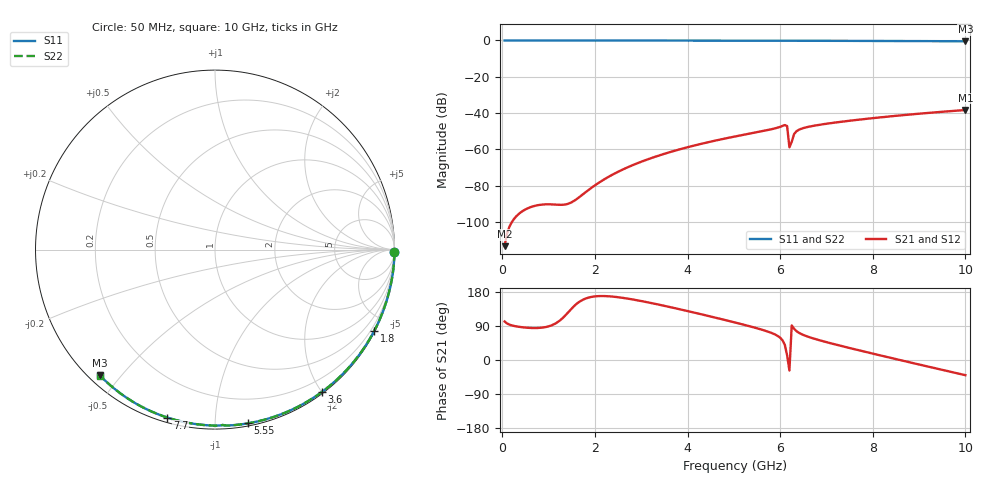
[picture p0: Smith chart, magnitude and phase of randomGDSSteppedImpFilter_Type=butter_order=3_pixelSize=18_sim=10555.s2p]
! freq	dB(S11)	phase(S11)	dB(S12)	phase(S12)
!  dB(S21)	phase(S21)	dB(S22)	phase(S22)
!S-par simulation data
#  GHz  S  DB  R 50
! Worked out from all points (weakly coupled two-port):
!   200 points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, 50 MHz to 10 GHz, reference 50 ohm
!   highest |S21| = -38.33 dB at 10 GHz (marker M1); lowest = -113.4 dB at 50 MHz (marker M2)
!   lowest |S11| = -0.4 dB at 10 GHz (marker M3), VSWR 38.90, Z = 1.53 - j22 ohm
!   |S11| at or under -10 dB: nowhere
!   |S22| runs from -0.4 to 0.0 dB; largest |S21 - S12| = 0
!   S11 on the Smith chart (normalised r, x): 50 MHz: open; 1.8 GHz: 0.04, -4.14; 3.6 GHz: 0.02, -2.00; 5.55 GHz: 0.02, -1.21; 7.7 GHz: 0.02, -0.76; 10 GHz: 0.03, -0.44
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0.05  -0.00 -0.8  -113.36 101.7  -113.36 101.7  -0.00 -0.8
0.9  -0.01 -13.7  -90.37 86.1  -90.37 86.1  -0.01 -13.7
1.75  -0.03 -26.4  -84.59 159.6  -84.59 159.6  -0.03 -26.4
1.8  -0.03 -27.2  -83.59 162.2  -83.59 162.2  -0.03 -27.2
2  -0.04 -30.1  -79.85 167.9  -79.85 167.9  -0.04 -30.1
2.35  -0.05 -35.2  -74.35 167.7  -74.35 167.7  -0.05 -35.2
2.65  -0.05 -39.6  -70.54 163.1  -70.54 163.1  -0.05 -39.6
3.4  -0.07 -50.3  -63.26 145.6  -63.26 145.6  -0.07 -50.3
3.6  -0.07 -53.1  -61.68 140.3  -61.68 140.3  -0.07 -53.1
5.05  -0.11 -72.8  -52.78 98.3  -52.78 98.3  -0.11 -72.8
5.55  -0.13 -79.3  -50.30 82.0  -50.30 82.0  -0.13 -79.3
6.1  -0.16 -86.4  -46.61 40.3  -46.61 40.3  -0.16 -86.4
6.15  -0.18 -87.1  -47.13 12.5  -47.13 12.5  -0.18 -87.1
6.2  -0.19 -87.5  -58.91 -27.8  -58.91 -27.8  -0.19 -87.5
6.25  -0.18 -88.1  -55.84 91.2  -55.84 91.2  -0.18 -88.1
6.3  -0.17 -88.7  -51.62 82.6  -51.62 82.6  -0.17 -88.7
6.35  -0.17 -89.4  -50.10 76.5  -50.10 76.5  -0.17 -89.3
6.5  -0.17 -91.3  -48.29 66.1  -48.29 66.1  -0.17 -91.2
6.7  -0.18 -93.7  -47.13 57.5  -47.13 57.5  -0.18 -93.7
7.7  -0.24 -105.8  -43.64 25.6  -43.64 25.6  -0.24 -105.8
8.35  -0.29 -113.5  -41.90 6.7  -41.90 6.7  -0.29 -113.5
10  -0.45 -132.4  -38.33 -40.1  -38.33 -40.1  -0.45 -132.4
